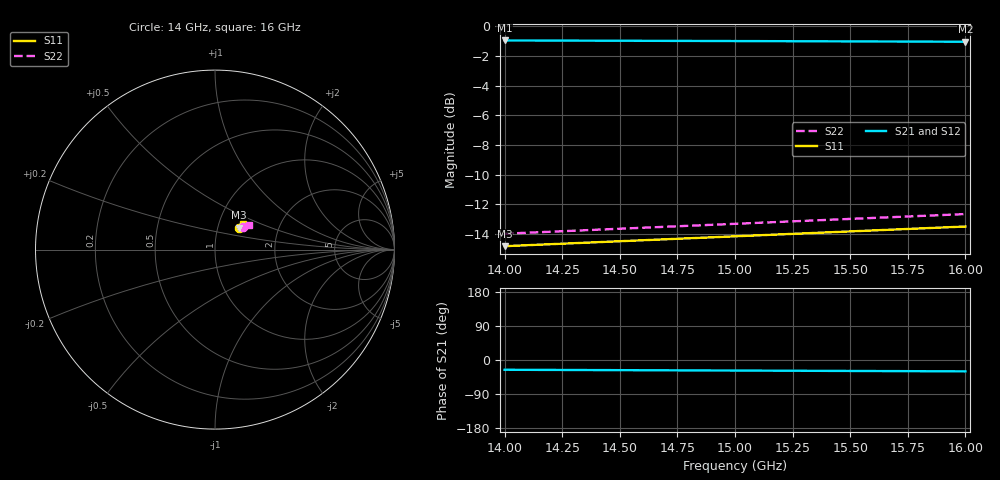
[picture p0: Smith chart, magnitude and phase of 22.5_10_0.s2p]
! Created Tue Dec 15 14:17:14 2020
# hz S ma R 50
! 2 Port Network Data from Sweep1.SP1.SP block
! freq  magS11  angS11  magS21  angS21  magS12  angS12  magS22  angS22
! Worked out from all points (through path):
!   21 points, 14 GHz to 16 GHz, reference 50 ohm
!   highest |S21| = -0.95 dB at 14 GHz (marker M1); lowest = -1.0 dB at 16 GHz (marker M2)
!   group delay of S21, straight-line fit = 5.84 ps
!   lowest |S11| = -14.8 dB at 14 GHz (marker M3), VSWR 1.44, Z = 63.3 + j16 ohm
!   |S11| at or under -10 dB: start of sweep to end of sweep
!   |S22| runs from -14.0 to -12.6 dB; largest |S21 - S12| = 0
1.4e10  0.1817 42.1  0.8962 -25.8  0.8962 -25.8  0.2001 38.6
1.41e10  0.1831 42.1  0.8958 -26.0  0.8958 -26.0  0.2017 38.5
1.42e10  0.1845 42.1  0.8954 -26.2  0.8954 -26.2  0.2032 38.5
1.43e10  0.1859 42.1  0.895 -26.4  0.895 -26.4  0.2048 38.4
1.44e10  0.1873 42.1  0.8946 -26.6  0.8946 -26.6  0.2064 38.3
1.45e10  0.1887 42.0  0.8942 -26.8  0.8942 -26.8  0.208 38.2
1.46e10  0.1902 42.0  0.8937 -27.0  0.8937 -27.0  0.2096 38.1
1.47e10  0.1917 42.0  0.8933 -27.2  0.8933 -27.2  0.2112 38.1
1.48e10  0.1931 42.0  0.8929 -27.4  0.8929 -27.4  0.2128 38.0
1.49e10  0.1946 41.9  0.8924 -27.6  0.8924 -27.6  0.2144 37.9
1.5e10  0.1961 41.9  0.892 -27.8  0.892 -27.8  0.2161 37.8
1.51e10  0.1976 41.9  0.8916 -28.1  0.8916 -28.1  0.2177 37.7
1.52e10  0.1991 41.8  0.8911 -28.3  0.8911 -28.3  0.2194 37.6
1.53e10  0.2006 41.8  0.8906 -28.5  0.8906 -28.5  0.2211 37.5
1.54e10  0.2022 41.7  0.8902 -28.7  0.8902 -28.7  0.2227 37.4
1.55e10  0.2037 41.7  0.8897 -28.9  0.8897 -28.9  0.2244 37.3
1.56e10  0.2053 41.6  0.8892 -29.1  0.8892 -29.1  0.2261 37.2
1.57e10  0.2068 41.6  0.8887 -29.3  0.8887 -29.3  0.2279 37.1
1.58e10  0.2084 41.5  0.8882 -29.5  0.8882 -29.5  0.2296 37.0
1.59e10  0.21 41.5  0.8877 -29.8  0.8877 -29.8  0.2313 36.9
1.6e10  0.2116 41.4  0.8872 -30.0  0.8872 -30.0  0.2331 36.8
